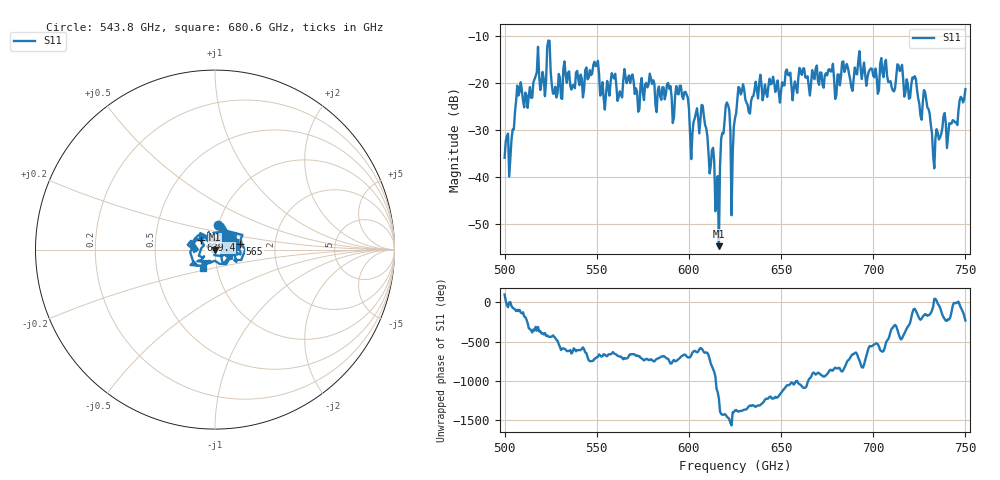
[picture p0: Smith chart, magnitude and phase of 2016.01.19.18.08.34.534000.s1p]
!Created with skrf (http://scikit-rf.org).
# GHz S RI R 50.0
!freq ReS11 ImS11
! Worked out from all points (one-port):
!   401 points, 500 GHz to 750 GHz, reference 50 ohm
!   lowest |S11| = -54.8 dB at 616.2 GHz (marker M1), VSWR 1.00, Z = 49.9 - j0.112 ohm
!   |S11| at or under -10 dB: start of sweep to end of sweep
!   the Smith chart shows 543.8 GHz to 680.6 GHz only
!   S11 on the Smith chart (normalised r, x): 543.8 GHz: 0.99, +0.28; 565 GHz: 1.32, +0.08; 639.4 GHz: 0.85, +0.09; 680.6 GHz: 0.86, -0.18
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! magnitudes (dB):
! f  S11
! 500 GHz  -36.0
! 503.8 GHz  -32.0
! 508.1 GHz  -21.9
! 523.8 GHz  -10.9
! 526.9 GHz  -22.2
! 531.2 GHz  -23.4
! 543.8 GHz  -17.2
! 549.4 GHz  -16.4
! 562.5 GHz  -21.7
! 565 GHz  -17.0
! 593.8 GHz  -22.2
! 601.9 GHz  -30.9
! 608.1 GHz  -27.1
! 615 GHz  -41.9
! 616.2 GHz  -54.8
! 620.6 GHz  -24.1
! 623.1 GHz  -48.2
! 625 GHz  -27.5
! 628.1 GHz  -22.4
! 639.4 GHz  -20.3
! 656.2 GHz  -23.6
! 680.6 GHz  -18.2
! 687.5 GHz  -19.2
! 714.4 GHz  -17.4
! 718.8 GHz  -20.2
! 728.8 GHz  -23.6
! 733.1 GHz  -38.2
! 750 GHz  -21.3
